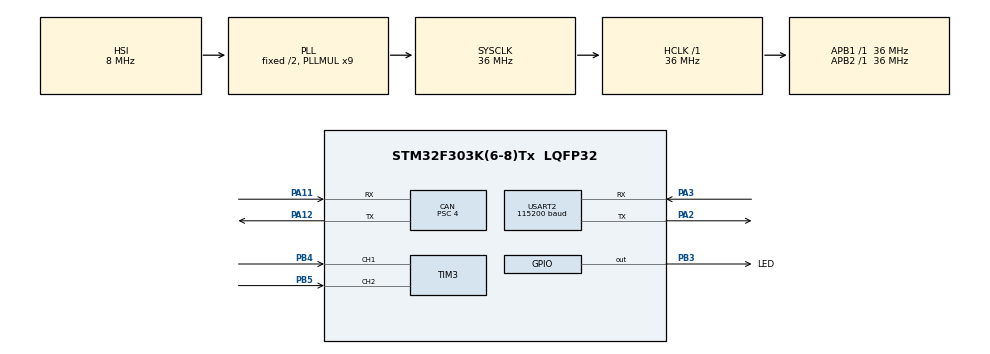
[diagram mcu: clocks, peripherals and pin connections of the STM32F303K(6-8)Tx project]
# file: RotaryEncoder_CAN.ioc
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CAN.BS1=CAN_BS1_15TQ
CAN.BS2=CAN_BS2_2TQ
CAN.CalculateBaudRate=500000
CAN.CalculateTimeBit=1999.99
CAN.CalculateTimeQuantum=111.11111111111111
CAN.Prescaler=4
Mcu.Family=STM32F3
Mcu.Name=STM32F303K(6-8)Tx
Mcu.Package=LQFP32
NVIC.CAN_RX0_IRQn=true\:0\:0\:false\:false\:true\:true\:true
NVIC.CAN_RX1_IRQn=true\:0\:0\:false\:false\:true\:true\:true
NVIC.CAN_TX_IRQn=true\:0\:0\:false\:false\:true\:true\:true
NVIC.PriorityGroup=NVIC_PRIORITYGROUP_4
NVIC.TIM2_IRQn=true\:0\:0\:false\:false\:true\:true\:true
PA11.Mode=CAN_Activate
PA11.Signal=CAN_RX
PA12.Mode=CAN_Activate
PA12.Signal=CAN_TX
PA2.Mode=Asynchronous
PA2.Signal=USART2_TX
PA3.Mode=Asynchronous
PA3.Signal=USART2_RX
PB3.GPIO_Label=LED
PB3.GPIO_PuPd=GPIO_PULLUP
PB3.Signal=GPIO_Output
PB4.Signal=S_TIM3_CH1
PB5.Signal=S_TIM3_CH2
ProjectManager.HeapSize=0x200
ProjectManager.StackSize=0x400
ProjectManager.TargetToolchain=STM32CubeIDE
RCC.AHBFreq_Value=36000000
RCC.APB1Freq_Value=36000000
RCC.APB1TimFreq_Value=36000000
RCC.APB2Freq_Value=36000000
RCC.APB2TimFreq_Value=36000000
RCC.CortexFreq_Value=36000000
RCC.HCLKFreq_Value=36000000
RCC.HSE_VALUE=8000000
RCC.HSI_VALUE=8000000
RCC.PLLMUL=RCC_PLL_MUL9
RCC.SYSCLKFreq_VALUE=36000000
RCC.SYSCLKSourceVirtual=RCC_SYSCLKSOURCE_PLLCLK
SH.S_TIM3_CH1.0=TIM3_CH1,Encoder_Interface
SH.S_TIM3_CH2.0=TIM3_CH2,Encoder_Interface
TIM2.Period=10000 - 1
TIM2.Prescaler=36 - 1
TIM3.EncoderMode=TIM_ENCODERMODE_TI12
USART2.BaudRate=115200
USART2.VirtualMode-Asynchronous=VM_ASYNC
VP_TIM2_VS_ClockSourceINT.Mode=Internal
board=custom

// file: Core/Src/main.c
/* USER CODE BEGIN Header */
/**
 ******************************************************************************
 * @file           : main.c
 * @brief          : Main program body
 ******************************************************************************
 * @attention
 *
 * <h2><center>&copy; Copyright (c) 2021 STMicroelectronics.
 * All rights reserved.</center></h2>
 *
 * This software component is licensed by ST under BSD 3-Clause license,
 * the "License"; You may not use this file except in compliance with the
 * License. You may obtain a copy of the License at:
 *                        opensource.org/licenses/BSD-3-Clause
 *
 ******************************************************************************
 */
/* USER CODE END Header */
#include "main.h"

/* USER CODE BEGIN Includes */
#include "stdio.h"
#include "string.h"
/* USER CODE END Includes */

/* USER CODE BEGIN PD */
#define ENC0_CAN_ID 0x010
#define ENC1_CAN_ID 0x011
#define ENC2_CAN_ID 0x012
#define BLDC0_CAN_ID 0x020
#define BLDC1_CAN_ID 0x021
#define BLDC2_CAN_ID 0x022

#define my_CAN_ID 0x010

#define PI 3.14159265
#define PPR 200
/* USER CODE END PD */

CAN_HandleTypeDef hcan;

TIM_HandleTypeDef htim2;
TIM_HandleTypeDef htim3;

UART_HandleTypeDef huart2;

/* USER CODE BEGIN PV */
int cnt;
float angle_rad;
char scnt[100];

CAN_TxHeaderTypeDef TxHeader;
CAN_RxHeaderTypeDef RxHeader;

uint8_t TxData[8];
uint8_t RxData[8];
uint32_t TxMailbox;
/* USER CODE END PV */

void SystemClock_Config(void);
static void MX_GPIO_Init(void);
static void MX_CAN_Init(void);
static void MX_TIM3_Init(void);
static void MX_USART2_UART_Init(void);
static void MX_TIM2_Init(void);
/* USER CODE BEGIN PFP */
void CAN_Send(uint32_t _id, uint8_t *_data);
/* USER CODE END PFP */

int main(void)
{

  /* MCU Configuration--------------------------------------------------------*/

  /* Reset of all peripherals, Initializes the Flash interface and the Systick. */
  HAL_Init();

  /* Configure the system clock */
  SystemClock_Config();

  /* Initialize all configured peripherals */
  MX_GPIO_Init();
  MX_CAN_Init();
  MX_TIM3_Init();
  MX_USART2_UART_Init();
  MX_TIM2_Init();
  /* USER CODE BEGIN 2 */
	HAL_TIM_Encoder_Start(&htim3, TIM_CHANNEL_ALL);
	HAL_TIM_Base_Start_IT(&htim2);
	HAL_CAN_Start(&hcan);
	if (HAL_CAN_ActivateNotification(&hcan, CAN_IT_RX_FIFO0_MSG_PENDING)
			!= HAL_OK) {
		Error_Handler();
	}
  /* USER CODE END 2 */

  /* Infinite loop */
  /* USER CODE BEGIN WHILE */
	while (1) {
		HAL_GPIO_TogglePin(LED_GPIO_Port, LED_Pin);
		HAL_Delay(100);
    /* USER CODE END WHILE */

	}
}

void SystemClock_Config(void)
{
  RCC_OscInitTypeDef RCC_OscInitStruct = {0};
  RCC_ClkInitTypeDef RCC_ClkInitStruct = {0};

  /** Initializes the RCC Oscillators according to the specified parameters
  * in the RCC_OscInitTypeDef structure.
  */
  RCC_OscInitStruct.OscillatorType = RCC_OSCILLATORTYPE_HSI;
  RCC_OscInitStruct.HSIState = RCC_HSI_ON;
  RCC_OscInitStruct.HSICalibrationValue = RCC_HSICALIBRATION_DEFAULT;
  RCC_OscInitStruct.PLL.PLLState = RCC_PLL_ON;
  RCC_OscInitStruct.PLL.PLLSource = RCC_PLLSOURCE_HSI;
  RCC_OscInitStruct.PLL.PLLMUL = RCC_PLL_MUL9;
  if (HAL_RCC_OscConfig(&RCC_OscInitStruct) != HAL_OK)
  {
    Error_Handler();
  }
  /** Initializes the CPU, AHB and APB buses clocks
  */
  RCC_ClkInitStruct.ClockType = RCC_CLOCKTYPE_HCLK|RCC_CLOCKTYPE_SYSCLK
                              |RCC_CLOCKTYPE_PCLK1|RCC_CLOCKTYPE_PCLK2;
  RCC_ClkInitStruct.SYSCLKSource = RCC_SYSCLKSOURCE_PLLCLK;
  RCC_ClkInitStruct.AHBCLKDivider = RCC_SYSCLK_DIV1;
  RCC_ClkInitStruct.APB1CLKDivider = RCC_HCLK_DIV1;
  RCC_ClkInitStruct.APB2CLKDivider = RCC_HCLK_DIV1;

  if (HAL_RCC_ClockConfig(&RCC_ClkInitStruct, FLASH_LATENCY_1) != HAL_OK)
  {
    Error_Handler();
  }
}

static void MX_CAN_Init(void)
{

  hcan.Instance = CAN;
  hcan.Init.Prescaler = 4;
  hcan.Init.Mode = CAN_MODE_NORMAL;
  hcan.Init.SyncJumpWidth = CAN_SJW_1TQ;
  hcan.Init.TimeSeg1 = CAN_BS1_15TQ;
  hcan.Init.TimeSeg2 = CAN_BS2_2TQ;
  hcan.Init.TimeTriggeredMode = DISABLE;
  hcan.Init.AutoBusOff = DISABLE;
  hcan.Init.AutoWakeUp = DISABLE;
  hcan.Init.AutoRetransmission = DISABLE;
  hcan.Init.ReceiveFifoLocked = DISABLE;
  hcan.Init.TransmitFifoPriority = DISABLE;
  if (HAL_CAN_Init(&hcan) != HAL_OK)
  {
    Error_Handler();
  }
  /* USER CODE BEGIN CAN_Init 2 */
	CAN_FilterTypeDef sFilterConfig;
	sFilterConfig.FilterIdHigh = my_CAN_ID << 5;
	sFilterConfig.FilterIdLow = my_CAN_ID << 5;
	sFilterConfig.FilterMaskIdHigh = my_CAN_ID << 5;
	sFilterConfig.FilterMaskIdLow = my_CAN_ID << 5;
	sFilterConfig.FilterFIFOAssignment = CAN_RX_FIFO0;
	sFilterConfig.FilterBank = 0;
	sFilterConfig.FilterMode = CAN_FILTERMODE_IDLIST;
	sFilterConfig.FilterScale = CAN_FILTERSCALE_16BIT;
	sFilterConfig.FilterActivation = ENABLE;
	sFilterConfig.SlaveStartFilterBank = 14;

	if (HAL_CAN_ConfigFilter(&hcan, &sFilterConfig) != HAL_OK) {
		Error_Handler();
	}
	HAL_NVIC_SetPriority(CAN_RX1_IRQn, 0, 0);
	HAL_NVIC_EnableIRQ(CAN_RX1_IRQn);
	HAL_NVIC_SetPriority(CAN_SCE_IRQn, 0, 0);
	HAL_NVIC_EnableIRQ(CAN_SCE_IRQn);
  /* USER CODE END CAN_Init 2 */

}

static void MX_TIM2_Init(void)
{

  TIM_ClockConfigTypeDef sClockSourceConfig = {0};
  TIM_MasterConfigTypeDef sMasterConfig = {0};

  htim2.Instance = TIM2;
  htim2.Init.Prescaler = 36 - 1;
  htim2.Init.CounterMode = TIM_COUNTERMODE_UP;
  htim2.Init.Period = 10000 - 1;
  htim2.Init.ClockDivision = TIM_CLOCKDIVISION_DIV1;
  htim2.Init.AutoReloadPreload = TIM_AUTORELOAD_PRELOAD_DISABLE;
  if (HAL_TIM_Base_Init(&htim2) != HAL_OK)
  {
    Error_Handler();
  }
  sClockSourceConfig.ClockSource = TIM_CLOCKSOURCE_INTERNAL;
  if (HAL_TIM_ConfigClockSource(&htim2, &sClockSourceConfig) != HAL_OK)
  {
    Error_Handler();
  }
  sMasterConfig.MasterOutputTrigger = TIM_TRGO_RESET;
  sMasterConfig.MasterSlaveMode = TIM_MASTERSLAVEMODE_DISABLE;
  if (HAL_TIMEx_MasterConfigSynchronization(&htim2, &sMasterConfig) != HAL_OK)
  {
    Error_Handler();
  }

}

static void MX_TIM3_Init(void)
{

  TIM_Encoder_InitTypeDef sConfig = {0};
  TIM_MasterConfigTypeDef sMasterConfig = {0};

  htim3.Instance = TIM3;
  htim3.Init.Prescaler = 0;
  htim3.Init.CounterMode = TIM_COUNTERMODE_UP;
  htim3.Init.Period = 65535;
  htim3.Init.ClockDivision = TIM_CLOCKDIVISION_DIV1;
  htim3.Init.AutoReloadPreload = TIM_AUTORELOAD_PRELOAD_DISABLE;
  sConfig.EncoderMode = TIM_ENCODERMODE_TI12;
  sConfig.IC1Polarity = TIM_ICPOLARITY_RISING;
  sConfig.IC1Selection = TIM_ICSELECTION_DIRECTTI;
  sConfig.IC1Prescaler = TIM_ICPSC_DIV1;
  sConfig.IC1Filter = 0;
  sConfig.IC2Polarity = TIM_ICPOLARITY_RISING;
  sConfig.IC2Selection = TIM_ICSELECTION_DIRECTTI;
  sConfig.IC2Prescaler = TIM_ICPSC_DIV1;
  sConfig.IC2Filter = 0;
  if (HAL_TIM_Encoder_Init(&htim3, &sConfig) != HAL_OK)
  {
    Error_Handler();
  }
  sMasterConfig.MasterOutputTrigger = TIM_TRGO_RESET;
  sMasterConfig.MasterSlaveMode = TIM_MASTERSLAVEMODE_DISABLE;
  if (HAL_TIMEx_MasterConfigSynchronization(&htim3, &sMasterConfig) != HAL_OK)
  {
    Error_Handler();
  }

}

static void MX_USART2_UART_Init(void)
{

  huart2.Instance = USART2;
  huart2.Init.BaudRate = 115200;
  huart2.Init.WordLength = UART_WORDLENGTH_8B;
  huart2.Init.StopBits = UART_STOPBITS_1;
  huart2.Init.Parity = UART_PARITY_NONE;
  huart2.Init.Mode = UART_MODE_TX_RX;
  huart2.Init.HwFlowCtl = UART_HWCONTROL_NONE;
  huart2.Init.OverSampling = UART_OVERSAMPLING_16;
  huart2.Init.OneBitSampling = UART_ONE_BIT_SAMPLE_DISABLE;
  huart2.AdvancedInit.AdvFeatureInit = UART_ADVFEATURE_NO_INIT;
  if (HAL_UART_Init(&huart2) != HAL_OK)
  {
    Error_Handler();
  }

}

static void MX_GPIO_Init(void)
{
  GPIO_InitTypeDef GPIO_InitStruct = {0};

  /* GPIO Ports Clock Enable */
  __HAL_RCC_GPIOA_CLK_ENABLE();
  __HAL_RCC_GPIOB_CLK_ENABLE();

  /*Configure GPIO pin Output Level */
  HAL_GPIO_WritePin(LED_GPIO_Port, LED_Pin, GPIO_PIN_RESET);

  /*Configure GPIO pin : LED_Pin */
  GPIO_InitStruct.Pin = LED_Pin;
  GPIO_InitStruct.Mode = GPIO_MODE_OUTPUT_PP;
  GPIO_InitStruct.Pull = GPIO_PULLUP;
  GPIO_InitStruct.Speed = GPIO_SPEED_FREQ_LOW;
  HAL_GPIO_Init(LED_GPIO_Port, &GPIO_InitStruct);

}

/* USER CODE BEGIN 4 */
void HAL_CAN_RxFifo0MsgPendingCallback(CAN_HandleTypeDef *hcan) {
	if (HAL_CAN_GetRxMessage(hcan, CAN_RX_FIFO0, &RxHeader, RxData) != HAL_OK) {
		Error_Handler();
	}
}

void CAN_Send(uint32_t _id, uint8_t *_data) {
	TxHeader.StdId = _id;					// Tx CAN ID
	TxHeader.RTR = CAN_RTR_DATA;
	TxHeader.IDE = CAN_ID_STD;
	TxHeader.DLC = 8;
	TxHeader.TransmitGlobalTime = DISABLE;
	memcpy(TxData, _data, 8);
	if (HAL_CAN_AddTxMessage(&hcan, &TxHeader, TxData, &TxMailbox) != HAL_OK) {
		Error_Handler();
	}
	while (HAL_CAN_GetTxMailboxesFreeLevel(&hcan) == 0) {
	}
}

void HAL_TIM_PeriodElapsedCallback(TIM_HandleTypeDef *htim) {
	if (htim == &htim2) {
		uint8_t send_data[8] = {0,0,0,0,0,0,0,0};
		cnt = (int16_t) (TIM3->CNT);
		angle_rad = 2 * PI * cnt / (4 * PPR);
		sprintf(scnt, "%d, %f\r\n", cnt, angle_rad);
		HAL_UART_Transmit(&huart2, scnt, strlen(scnt) + 1, 0xFFFF);
		memcpy(send_data, &angle_rad, 4);
		CAN_Send( BLDC0_CAN_ID, send_data);
	}
}
/* USER CODE END 4 */

void Error_Handler(void)
{
	__disable_irq();
	while (1) {
	}
}

/************************ (C) COPYRIGHT STMicroelectronics *****END OF FILE****/
